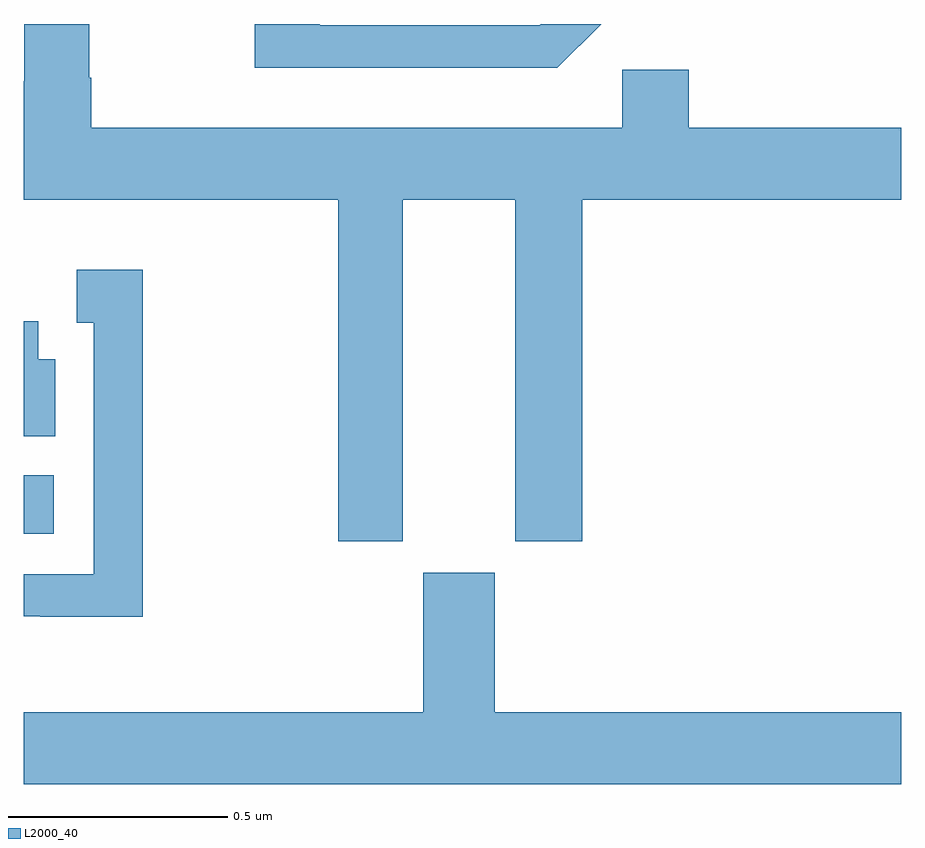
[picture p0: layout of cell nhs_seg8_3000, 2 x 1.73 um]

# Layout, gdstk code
import gdstk
lib = gdstk.Library(unit=1e-6, precision=1e-09)
def R(c, l, rs):  # rectangles x0, y0, x1, y1
    for r in rs: c.add(gdstk.rectangle(r[:2], r[2:], *l))
def P(c, l, *ps):  # polygons
    for p in ps: c.add(gdstk.Polygon(p, *l))
L2000_40 = (2000, 40)

nhs_seg8_3000 = lib.new_cell('nhs_seg8_3000')
R(nhs_seg8_3000, L2000_40, [(151,1115.738,151.069,1115.872)])
P(nhs_seg8_3000, L2000_40, [(151.864,1116.5),(152.12,1116.5),(152.12,1115.721),(152.273,1115.721),(152.273,1116.5),(153,1116.5),(153,1116.664),(152.516,1116.664),(152.516,1116.796),(152.364,1116.796),(152.364,1116.664),(151.154,1116.664),(151.154,1116.777),(151.149,1116.777),(151.149,1116.9),(151.001,1116.9),(151.001,1116.77),(151,1116.77),(151,1116.5),(151.717,1116.5),(151.717,1115.721),(151.864,1115.721)],
  [(152.316,1116.9),(152.178,1116.9),(152.175,1116.897),(151.675,1116.897),(151.675,1116.9),(151.527,1116.9),(151.527,1116.8),(152.216,1116.8)],
  [(151.271,1116.34),(151.121,1116.34),(151.121,1116.219),(151.16,1116.219),(151.16,1115.646),(151,1115.646),(151,1115.55),(151.038,1115.55),(151.038,1115.549),(151.271,1115.549)],
  [(151.072,1116.136),(151.033,1116.136),(151.033,1116.223),(151,1116.223),(151,1115.96),(151.072,1115.96)],
  [(153,1115.332),(152.074,1115.332),(152.074,1115.649),(151.91,1115.649),(151.91,1115.332),(151,1115.332),(151,1115.168),(153,1115.168)])

lib.write_gds('nhs_seg8_3000.gds')
